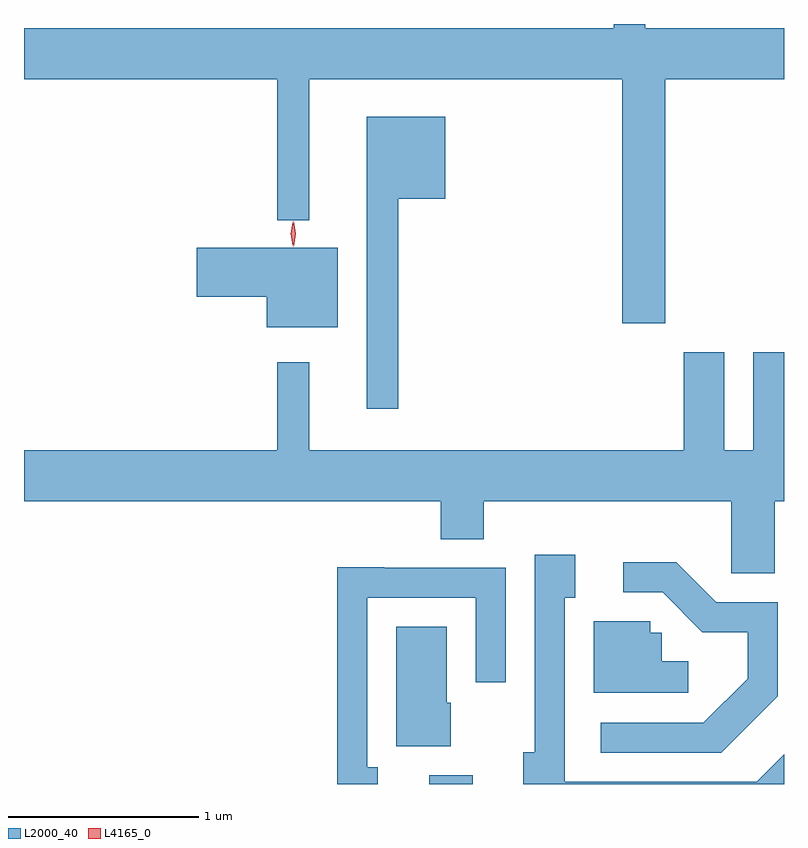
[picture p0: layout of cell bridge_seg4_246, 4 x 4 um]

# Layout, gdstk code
import gdstk
lib = gdstk.Library(unit=1e-6, precision=1e-09)
def R(c, l, rs):  # rectangles x0, y0, x1, y1
    for r in rs: c.add(gdstk.rectangle(r[:2], r[2:], *l))
def P(c, l, *ps):  # polygons
    for p in ps: c.add(gdstk.Polygon(p, *l))
L2000_40 = (2000, 40)
L4165_0 = (4165, 0)

bridge_seg4_246 = lib.new_cell('bridge_seg4_246')
R(bridge_seg4_246, L2000_40, [(727.121,1382.047,727.349,1382.094)])
P(bridge_seg4_246, L2000_40, [(728.364,1385.756),(728.988,1385.756),(728.988,1386.024),(728.259,1386.024),(728.259,1386.047),(728.091,1386.047),(728.091,1386.024),(724.988,1386.024),(724.988,1385.756),(726.321,1385.756),(726.321,1385.013),(726.489,1385.013),(726.489,1385.756),(728.136,1385.756),(728.136,1384.471),(728.364,1384.471)],
  [(726.959,1385.126),(727.204,1385.126),(727.204,1385.559),(726.791,1385.559),(726.791,1384.023),(726.959,1384.023)],
  [(726.639,1384.869),(725.896,1384.869),(725.896,1384.611),(726.266,1384.611),(726.266,1384.451),(726.639,1384.451)],
  [(726.489,1384.268),(726.321,1384.268),(726.321,1383.804),(724.988,1383.804),(724.988,1383.536),(727.181,1383.536),(727.181,1383.336),(727.409,1383.336),(727.409,1383.536),(728.711,1383.536),(728.711,1383.156),(728.939,1383.156),(728.939,1383.536),(728.988,1383.536),(728.988,1384.319),(728.826,1384.319),(728.826,1383.804),(728.674,1383.804),(728.674,1384.319),(728.461,1384.319),(728.461,1383.804),(726.489,1383.804)],
  [(728.988,1382.204),(728.844,1382.059),(727.834,1382.059),(727.834,1383.026),(727.889,1383.026),(727.889,1383.254),(727.676,1383.254),(727.676,1382.214),(727.616,1382.214),(727.616,1382.047),(728.988,1382.047)],
  [(728.954,1382.509),(728.954,1383.004),(728.632,1383.004),(728.422,1383.214),(728.143,1383.214),(728.143,1383.056),(728.349,1383.056),(728.559,1382.846),(728.796,1382.846),(728.796,1382.602),(728.564,1382.369),(728.023,1382.369),(728.023,1382.211),(728.657,1382.211)],
  [(726.849,1382.134),(726.794,1382.134),(726.794,1383.026),(727.366,1383.026),(727.366,1382.583),(727.524,1382.583),(727.524,1383.184),(726.885,1383.184),(726.885,1383.189),(726.636,1383.189),(726.636,1382.047),(726.849,1382.047)],
  [(728.483,1382.694),(728.344,1382.694),(728.344,1382.844),(728.284,1382.844),(728.284,1382.904),(727.986,1382.904),(727.986,1382.526),(728.483,1382.526)],
  [(727.234,1382.474),(727.214,1382.474),(727.214,1382.874),(726.946,1382.874),(726.946,1382.246),(727.234,1382.246)])
P(bridge_seg4_246, L4165_0, [(726.408,1384.874),(726.399,1384.942),(726.408,1385.01),(726.408,1385.01),(726.409,1385.01),(726.418,1384.942),(726.409,1384.874),(726.409,1384.874)],
  [(726.402,1384.88),(726.393,1384.944),(726.402,1385.006),(726.403,1385.007),(726.403,1385.006),(726.413,1384.944),(726.403,1384.88),(726.403,1384.88)])

lib.write_gds('bridge_seg4_246.gds')
